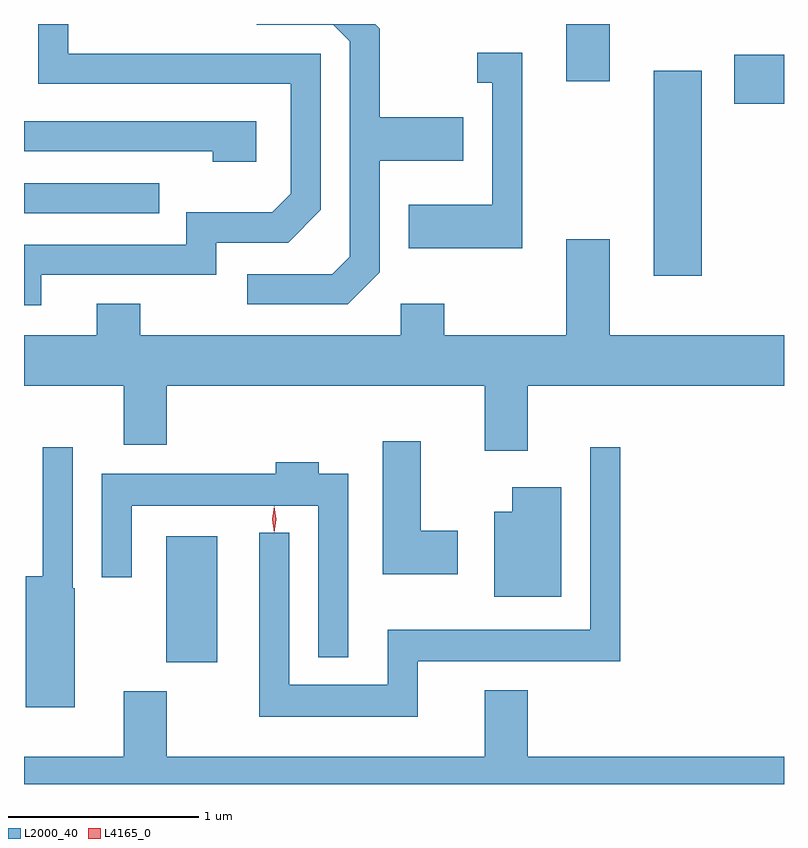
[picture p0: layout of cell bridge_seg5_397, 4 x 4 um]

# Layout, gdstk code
import gdstk
lib = gdstk.Library(unit=1e-6, precision=1e-09)
def R(c, l, rs):  # rectangles x0, y0, x1, y1
    for r in rs: c.add(gdstk.rectangle(r[:2], r[2:], *l))
def P(c, l, *ps):  # polygons
    for p in ps: c.add(gdstk.Polygon(p, *l))
L2000_40 = (2000, 40)
L4165_0 = (4165, 0)

bridge_seg5_397 = lib.new_cell('bridge_seg5_397')
R(bridge_seg5_397, L2000_40, [(548.636,1519.721,548.904,1520.384), (551.201,1521.756,551.454,1522.834), (547.887,1522.086,548.598,1522.244), (551.626,1522.661,551.887,1522.919), (550.741,1522.781,550.969,1523.081)])
P(bridge_seg5_397, L2000_40, [(549.759,1521.774),(549.759,1522.361),(550.199,1522.361),(550.199,1522.589),(549.759,1522.589),(549.759,1523.057),(549.735,1523.081),(549.113,1523.081),(549.113,1523.076),(549.514,1523.076),(549.601,1522.989),(549.601,1521.857),(549.509,1521.764),(549.063,1521.764),(549.063,1521.606),(549.592,1521.606)],
  [(547.979,1521.761),(548.899,1521.761),(548.899,1521.931),(549.277,1521.931),(549.449,1522.104),(549.449,1522.924),(548.119,1522.924),(548.119,1523.081),(547.961,1523.081),(547.961,1522.766),(549.291,1522.766),(549.291,1522.187),(549.194,1522.089),(548.741,1522.089),(548.741,1521.919),(547.887,1521.919),(547.887,1521.601),(547.979,1521.601)],
  [(550.509,1522.929),(550.273,1522.929),(550.273,1522.771),(550.351,1522.771),(550.351,1522.129),(549.911,1522.129),(549.911,1521.901),(550.509,1521.901)],
  [(549.109,1522.569),(547.887,1522.569),(547.887,1522.411),(548.881,1522.411),(548.881,1522.356),(549.109,1522.356)],
  [(548.411,1520.866),(548.639,1520.866),(548.639,1521.176),(550.311,1521.176),(550.311,1520.836),(550.539,1520.836),(550.539,1521.176),(551.887,1521.176),(551.887,1521.444),(550.969,1521.444),(550.969,1521.949),(550.741,1521.949),(550.741,1521.444),(550.099,1521.444),(550.099,1521.609),(549.871,1521.609),(549.871,1521.444),(548.499,1521.444),(548.499,1521.609),(548.271,1521.609),(548.271,1521.444),(547.887,1521.444),(547.887,1521.176),(548.411,1521.176)],
  [(550.169,1520.414),(549.974,1520.414),(549.974,1520.884),(549.776,1520.884),(549.776,1520.186),(550.169,1520.186)],
  [(548.154,1520.11),(548.144,1520.11),(548.144,1520.853),(547.986,1520.853),(547.986,1520.174),(547.896,1520.174),(547.896,1519.486),(548.154,1519.486)],
  [(549.959,1519.726),(551.024,1519.726),(551.024,1520.853),(550.866,1520.853),(550.866,1519.894),(549.801,1519.894),(549.801,1519.604),(549.284,1519.604),(549.284,1520.403),(549.126,1520.403),(549.126,1519.436),(549.959,1519.436)],
  [(549.594,1520.714),(549.439,1520.714),(549.439,1520.774),(549.211,1520.774),(549.211,1520.714),(548.296,1520.714),(548.296,1520.168),(548.454,1520.168),(548.454,1520.546),(549.436,1520.546),(549.436,1519.748),(549.594,1519.748)],
  [(550.714,1520.644),(550.456,1520.644),(550.456,1520.514),(550.361,1520.514),(550.361,1520.066),(550.714,1520.066)],
  [(548.411,1519.569),(548.411,1519.224),(547.887,1519.224),(547.887,1519.081),(551.887,1519.081),(551.887,1519.224),(550.539,1519.224),(550.539,1519.574),(550.311,1519.574),(550.311,1519.224),(548.639,1519.224),(548.639,1519.569)])
P(bridge_seg5_397, L4165_0, [(549.203,1520.407),(549.194,1520.474),(549.203,1520.54),(549.204,1520.54),(549.204,1520.54),(549.214,1520.474),(549.204,1520.407),(549.204,1520.407)],
  [(549.203,1520.404),(549.194,1520.474),(549.203,1520.542),(549.204,1520.543),(549.204,1520.542),(549.214,1520.474),(549.204,1520.404),(549.204,1520.404)])

lib.write_gds('bridge_seg5_397.gds')
